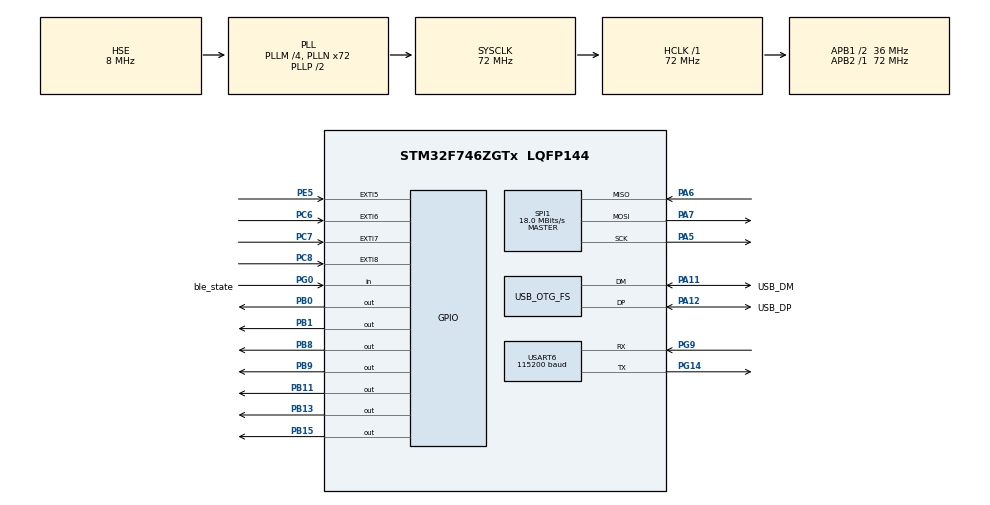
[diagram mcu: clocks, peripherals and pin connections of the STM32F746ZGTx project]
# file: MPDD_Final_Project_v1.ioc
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Dma.Request0=SPI1_TX
Dma.SPI1_TX.0.Direction=DMA_MEMORY_TO_PERIPH
Dma.SPI1_TX.0.FIFOMode=DMA_FIFOMODE_ENABLE
Dma.SPI1_TX.0.FIFOThreshold=DMA_FIFO_THRESHOLD_HALFFULL
Dma.SPI1_TX.0.Instance=DMA2_Stream3
Dma.SPI1_TX.0.MemBurst=DMA_MBURST_SINGLE
Dma.SPI1_TX.0.MemDataAlignment=DMA_MDATAALIGN_HALFWORD
Dma.SPI1_TX.0.MemInc=DMA_MINC_ENABLE
Dma.SPI1_TX.0.Mode=DMA_NORMAL
Dma.SPI1_TX.0.PeriphBurst=DMA_PBURST_SINGLE
Dma.SPI1_TX.0.PeriphDataAlignment=DMA_PDATAALIGN_HALFWORD
Dma.SPI1_TX.0.PeriphInc=DMA_PINC_DISABLE
Dma.SPI1_TX.0.Priority=DMA_PRIORITY_LOW
Mcu.Family=STM32F7
Mcu.Name=STM32F746ZGTx
Mcu.Package=LQFP144
NVIC.DMA2_Stream3_IRQn=true\:0\:0\:false\:false\:true\:false\:true\:true
NVIC.EXTI9_5_IRQn=true\:0\:0\:false\:false\:true\:true\:true\:true
NVIC.OTG_FS_IRQn=true\:0\:0\:false\:false\:true\:false\:true\:true
NVIC.PriorityGroup=NVIC_PRIORITYGROUP_4
NVIC.SPI1_IRQn=true\:0\:0\:false\:false\:true\:true\:true\:true
NVIC.TIM8_TRG_COM_TIM14_IRQn=true\:0\:0\:false\:false\:true\:true\:true\:true
PA10.GPIO_Label=USB_ID
PA10.Signal=USB_OTG_FS_ID
PA11.GPIO_Label=USB_DM
PA11.Mode=Device_Only
PA11.Signal=USB_OTG_FS_DM
PA12.GPIO_Label=USB_DP
PA12.Mode=Device_Only
PA12.Signal=USB_OTG_FS_DP
PA13.GPIO_Label=TMS
PA13.Mode=Serial_Wire
PA13.Signal=SYS_JTMS-SWDIO
PA14.GPIO_Label=TCK
PA14.Mode=Serial_Wire
PA14.Signal=SYS_JTCK-SWCLK
PA5.Mode=Full_Duplex_Master
PA5.Signal=SPI1_SCK
PA6.Mode=Full_Duplex_Master
PA6.Signal=SPI1_MISO
PA7.Mode=Full_Duplex_Master
PA7.Signal=SPI1_MOSI
PA8.GPIO_Label=USB_SOF [TP1]
PA8.Signal=USB_OTG_FS_SOF
PA9.GPIO_Label=USB_VBUS
PA9.Signal=USB_OTG_FS_VBUS
PB0.Signal=GPIO_Output
PB1.GPIO_PuPd=GPIO_PULLDOWN
PB1.Signal=GPIO_Output
PB11.GPIO_PuPd=GPIO_PULLDOWN
PB11.Signal=GPIO_Output
PB13.GPIO_PuPd=GPIO_PULLDOWN
PB13.Signal=GPIO_Output
PB15.GPIO_PuPd=GPIO_PULLDOWN
PB15.Signal=GPIO_Output
PB3.GPIO_Label=SW0
PB3.Signal=SYS_JTDO-SWO
PB8.PinState=GPIO_PIN_RESET
PB8.Signal=GPIO_Output
PB9.Signal=GPIO_Output
PC14/OSC32_IN.Mode=LSE-External-Oscillator
PC14/OSC32_IN.Signal=RCC_OSC32_IN
PC15/OSC32_OUT.Mode=LSE-External-Oscillator
PC15/OSC32_OUT.Signal=RCC_OSC32_OUT
PC6.GPIO_ModeDefaultEXTI=GPIO_MODE_IT_FALLING
PC6.GPIO_PuPd=GPIO_PULLUP
PC6.Signal=GPXTI6
PC7.GPIO_ModeDefaultEXTI=GPIO_MODE_IT_FALLING
PC7.GPIO_PuPd=GPIO_PULLUP
PC7.Signal=GPXTI7
PC8.GPIO_ModeDefaultEXTI=GPIO_MODE_IT_FALLING
PC8.GPIO_PuPd=GPIO_PULLUP
PC8.Signal=GPXTI8
PE5.GPIO_ModeDefaultEXTI=GPIO_MODE_IT_FALLING
PE5.GPIO_PuPd=GPIO_PULLUP
PE5.Signal=GPXTI5
PG0.GPIO_Label=ble_state
PG0.Signal=GPIO_Input
PG14.Mode=Asynchronous
PG14.Signal=USART6_TX
PG9.Mode=Asynchronous
PG9.Signal=USART6_RX
PH0/OSC_IN.GPIO_Label=MCO [STM32F103CBT6_PA8]
PH0/OSC_IN.Mode=HSE-External-Clock-Source
PH0/OSC_IN.Signal=RCC_OSC_IN
PH1/OSC_OUT.Mode=HSE-External-Clock-Source
PH1/OSC_OUT.Signal=RCC_OSC_OUT
ProjectManager.HeapSize=0x200
ProjectManager.StackSize=0x400
ProjectManager.TargetToolchain=STM32CubeIDE
RCC.48MHZClocksFreq_Value=24000000
RCC.AHBFreq_Value=72000000
RCC.APB1CLKDivider=RCC_HCLK_DIV2
RCC.APB1Freq_Value=36000000
RCC.APB1TimFreq_Value=72000000
RCC.APB2Freq_Value=72000000
RCC.APB2TimFreq_Value=72000000
RCC.CortexFreq_Value=72000000
RCC.HCLKFreq_Value=72000000
RCC.HSE_VALUE=8000000
RCC.HSI_VALUE=16000000
RCC.PLLM=4
RCC.PLLMUL=RCC_PLL_MUL9
RCC.PLLN=72
RCC.PLLQ=3
RCC.PLLSourceVirtual=RCC_PLLSOURCE_HSE
RCC.PRESCALERUSB=RCC_USBCLKSOURCE_PLL_DIV1_5
RCC.SYSCLKFreq_VALUE=72000000
RCC.SYSCLKSource=RCC_SYSCLKSOURCE_PLLCLK
RCC.SYSCLKSourceVirtual=RCC_SYSCLKSOURCE_PLLCLK
RCC.USBFreq_Value=48000000
RCC.VCOOutputFreq_Value=144000000
SPI1.BaudRatePrescaler=SPI_BAUDRATEPRESCALER_4
SPI1.CalculateBaudRate=18.0 MBits/s
SPI1.DataSize=SPI_DATASIZE_8BIT
SPI1.Direction=SPI_DIRECTION_2LINES
SPI1.Mode=SPI_MODE_MASTER
SPI1.NSSPMode=SPI_NSS_PULSE_DISABLE
SPI1.VirtualType=VM_MASTER
TIM14.Period=1000
TIM14.Prescaler=8000-1
USART6.BaudRate=115200
USART6.VirtualMode-Asynchronous=VM_ASYNC
USB_DEVICE.CLASS_NAME_FS=CDC
USB_DEVICE.VirtualMode-CDC_FS=Cdc
USB_DEVICE.VirtualModeFS=Cdc_FS
USB_OTG_FS.VirtualMode=Device_Only
VP_TIM14_VS_ClockSourceINT.Mode=Enable_Timer
VP_USB_DEVICE_VS_USB_DEVICE_CDC_FS.Mode=CDC_FS
board=NUCLEO-F746ZG

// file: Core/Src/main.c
/* USER CODE BEGIN Header */
/**
  ******************************************************************************
  * @file           : main.c
  * @brief          : Main program body
  ******************************************************************************
  * @attention
  *
  * Copyright (c) 2022 STMicroelectronics.
  * All rights reserved.
  *
  * This software is licensed under terms that can be found in the LICENSE file
  * in the root directory of this software component.
  * If no LICENSE file comes with this software, it is provided AS-IS.
  *
  ******************************************************************************
  */
/* USER CODE END Header */
#include "main.h"
#include "usb_device.h"

/* USER CODE BEGIN Includes */
#include "ili9163.h"
#include "string.h"
#include <stdint.h>
#include "usbd_cdc_if.h"
/* USER CODE END Includes */

/* USER CODE BEGIN PD */
#define FlashAddress 0x08008000
#define PIN_LENGTH 4

/* USER CODE END PD */

/* USER CODE BEGIN PM */
__attribute__((__section__(".user_data"))) const char userConfig[64];
/* USER CODE END PM */

SPI_HandleTypeDef hspi1;
DMA_HandleTypeDef hdma_spi1_tx;

TIM_HandleTypeDef htim14;

UART_HandleTypeDef huart6;

/* USER CODE BEGIN PV */
volatile uint32_t MSec = 0;

uint8_t SPI_DMA_FL = 0;
uint32_t SPI_DMA_CNT=1;

char keyChar = 0;
uint16_t key = 0;
uint8_t counter = 0;

/* USER CODE END PV */

void SystemClock_Config(void);
static void MX_GPIO_Init(void);
static void MX_DMA_Init(void);
static void MX_SPI1_Init(void);
static void MX_TIM14_Init(void);
static void MX_USART6_UART_Init(void);
/* USER CODE BEGIN PFP */
uint16_t keyPadScan(void);
/* USER CODE END PFP */

/* USER CODE BEGIN 0 */
GPIO_PinState statePinStatus;
/* USER CODE END 0 */

int main(void)
{

  /* MCU Configuration--------------------------------------------------------*/

  /* Reset of all peripherals, Initializes the Flash interface and the Systick. */
  HAL_Init();

  /* Configure the system clock */
  SystemClock_Config();

  /* Initialize all configured peripherals */
  MX_GPIO_Init();
  MX_DMA_Init();
  MX_SPI1_Init();
  MX_TIM14_Init();
  MX_USART6_UART_Init();
  MX_USB_DEVICE_Init();
  /* USER CODE BEGIN 2 */
  ILI9163_init(0);

//	  uint32_t num = 0;
//	Write_Flash(((uint32_t *) num));
	uint32_t pinInt = 0;
	 uint8_t buffer[1024];
	    uint32_t count = 0;
	    extern USBD_HandleTypeDef hUsbDeviceFS;

	   // extern USBD_HandleTypeDef GetRxBuffer;
  /* USER CODE END 2 */

  /* Infinite loop */
  /* USER CODE BEGIN WHILE */
  while (1)
  {
	 // HAL_GPIO_WritePin(GPIOB, GPIO_PIN_0, GPIO_PIN_SET); // Turn on LED
    /* USER CODE END WHILE */

    /* USER CODE BEGIN 3 */

	  statePinStatus = HAL_GPIO_ReadPin(GPIOG, GPIO_PIN_0); // Replace GPIOx with the actual GPIO port and STATE_PIN with the actual pin number

	  	  if(statePinStatus == GPIO_PIN_SET) {
	  	      // The module is connected to another Bluetooth device
	  		  HAL_GPIO_WritePin(GPIOB, GPIO_PIN_0, GPIO_PIN_SET); // Turn on LED
//	  		char *msg = "Hello BLE Module!";
//	  		 HAL_UART_Transmit(&huart6, (uint8_t*)msg, strlen(msg), HAL_MAX_DELAY);

	  	  } else {
	  	      // The module is not connected
	  		  HAL_GPIO_WritePin(GPIOB, GPIO_PIN_0, GPIO_PIN_RESET); // Turn on LED
	  	  }

  /* USER CODE END 3 */
}
}
void SystemClock_Config(void)
{
  RCC_OscInitTypeDef RCC_OscInitStruct = {0};
  RCC_ClkInitTypeDef RCC_ClkInitStruct = {0};

  /** Configure LSE Drive Capability
  */
  HAL_PWR_EnableBkUpAccess();

  /** Configure the main internal regulator output voltage
  */
  __HAL_RCC_PWR_CLK_ENABLE();
  __HAL_PWR_VOLTAGESCALING_CONFIG(PWR_REGULATOR_VOLTAGE_SCALE3);

  /** Initializes the RCC Oscillators according to the specified parameters
  * in the RCC_OscInitTypeDef structure.
  */
  RCC_OscInitStruct.OscillatorType = RCC_OSCILLATORTYPE_HSE;
  RCC_OscInitStruct.HSEState = RCC_HSE_BYPASS;
  RCC_OscInitStruct.PLL.PLLState = RCC_PLL_ON;
  RCC_OscInitStruct.PLL.PLLSource = RCC_PLLSOURCE_HSE;
  RCC_OscInitStruct.PLL.PLLM = 4;
  RCC_OscInitStruct.PLL.PLLN = 72;
  RCC_OscInitStruct.PLL.PLLP = RCC_PLLP_DIV2;
  RCC_OscInitStruct.PLL.PLLQ = 3;
  if (HAL_RCC_OscConfig(&RCC_OscInitStruct) != HAL_OK)
  {
    Error_Handler();
  }

  /** Initializes the CPU, AHB and APB buses clocks
  */
  RCC_ClkInitStruct.ClockType = RCC_CLOCKTYPE_HCLK|RCC_CLOCKTYPE_SYSCLK
                              |RCC_CLOCKTYPE_PCLK1|RCC_CLOCKTYPE_PCLK2;
  RCC_ClkInitStruct.SYSCLKSource = RCC_SYSCLKSOURCE_PLLCLK;
  RCC_ClkInitStruct.AHBCLKDivider = RCC_SYSCLK_DIV1;
  RCC_ClkInitStruct.APB1CLKDivider = RCC_HCLK_DIV2;
  RCC_ClkInitStruct.APB2CLKDivider = RCC_HCLK_DIV1;

  if (HAL_RCC_ClockConfig(&RCC_ClkInitStruct, FLASH_LATENCY_2) != HAL_OK)
  {
    Error_Handler();
  }
}

static void MX_SPI1_Init(void)
{

  /* SPI1 parameter configuration*/
  hspi1.Instance = SPI1;
  hspi1.Init.Mode = SPI_MODE_MASTER;
  hspi1.Init.Direction = SPI_DIRECTION_2LINES;
  hspi1.Init.DataSize = SPI_DATASIZE_8BIT;
  hspi1.Init.CLKPolarity = SPI_POLARITY_LOW;
  hspi1.Init.CLKPhase = SPI_PHASE_1EDGE;
  hspi1.Init.NSS = SPI_NSS_SOFT;
  hspi1.Init.BaudRatePrescaler = SPI_BAUDRATEPRESCALER_4;
  hspi1.Init.FirstBit = SPI_FIRSTBIT_MSB;
  hspi1.Init.TIMode = SPI_TIMODE_DISABLE;
  hspi1.Init.CRCCalculation = SPI_CRCCALCULATION_DISABLE;
  hspi1.Init.CRCPolynomial = 7;
  hspi1.Init.CRCLength = SPI_CRC_LENGTH_DATASIZE;
  hspi1.Init.NSSPMode = SPI_NSS_PULSE_DISABLE;
  if (HAL_SPI_Init(&hspi1) != HAL_OK)
  {
    Error_Handler();
  }

}

static void MX_TIM14_Init(void)
{

  htim14.Instance = TIM14;
  htim14.Init.Prescaler = 8000-1;
  htim14.Init.CounterMode = TIM_COUNTERMODE_UP;
  htim14.Init.Period = 1000;
  htim14.Init.ClockDivision = TIM_CLOCKDIVISION_DIV1;
  htim14.Init.AutoReloadPreload = TIM_AUTORELOAD_PRELOAD_DISABLE;
  if (HAL_TIM_Base_Init(&htim14) != HAL_OK)
  {
    Error_Handler();
  }

}

static void MX_USART6_UART_Init(void)
{

  huart6.Instance = USART6;
  huart6.Init.BaudRate = 115200;
  huart6.Init.WordLength = UART_WORDLENGTH_8B;
  huart6.Init.StopBits = UART_STOPBITS_1;
  huart6.Init.Parity = UART_PARITY_NONE;
  huart6.Init.Mode = UART_MODE_TX_RX;
  huart6.Init.HwFlowCtl = UART_HWCONTROL_NONE;
  huart6.Init.OverSampling = UART_OVERSAMPLING_16;
  huart6.Init.OneBitSampling = UART_ONE_BIT_SAMPLE_DISABLE;
  huart6.AdvancedInit.AdvFeatureInit = UART_ADVFEATURE_NO_INIT;
  if (HAL_UART_Init(&huart6) != HAL_OK)
  {
    Error_Handler();
  }

}

static void MX_DMA_Init(void)
{

  /* DMA controller clock enable */
  __HAL_RCC_DMA2_CLK_ENABLE();

  /* DMA interrupt init */
  /* DMA2_Stream3_IRQn interrupt configuration */
  HAL_NVIC_SetPriority(DMA2_Stream3_IRQn, 0, 0);
  HAL_NVIC_EnableIRQ(DMA2_Stream3_IRQn);

}

static void MX_GPIO_Init(void)
{
  GPIO_InitTypeDef GPIO_InitStruct = {0};

  /* GPIO Ports Clock Enable */
  __HAL_RCC_GPIOE_CLK_ENABLE();
  __HAL_RCC_GPIOC_CLK_ENABLE();
  __HAL_RCC_GPIOH_CLK_ENABLE();
  __HAL_RCC_GPIOA_CLK_ENABLE();
  __HAL_RCC_GPIOB_CLK_ENABLE();
  __HAL_RCC_GPIOG_CLK_ENABLE();

  /*Configure GPIO pin Output Level */
  HAL_GPIO_WritePin(GPIOB, GPIO_PIN_0|GPIO_PIN_1|GPIO_PIN_11|GPIO_PIN_13
                          |GPIO_PIN_15|GPIO_PIN_8|GPIO_PIN_9, GPIO_PIN_RESET);

  /*Configure GPIO pin : PE5 */
  GPIO_InitStruct.Pin = GPIO_PIN_5;
  GPIO_InitStruct.Mode = GPIO_MODE_IT_FALLING;
  GPIO_InitStruct.Pull = GPIO_PULLUP;
  HAL_GPIO_Init(GPIOE, &GPIO_InitStruct);

  /*Configure GPIO pins : PB0 PB8 PB9 */
  GPIO_InitStruct.Pin = GPIO_PIN_0|GPIO_PIN_8|GPIO_PIN_9;
  GPIO_InitStruct.Mode = GPIO_MODE_OUTPUT_PP;
  GPIO_InitStruct.Pull = GPIO_NOPULL;
  GPIO_InitStruct.Speed = GPIO_SPEED_FREQ_LOW;
  HAL_GPIO_Init(GPIOB, &GPIO_InitStruct);

  /*Configure GPIO pins : PB1 PB11 PB13 PB15 */
  GPIO_InitStruct.Pin = GPIO_PIN_1|GPIO_PIN_11|GPIO_PIN_13|GPIO_PIN_15;
  GPIO_InitStruct.Mode = GPIO_MODE_OUTPUT_PP;
  GPIO_InitStruct.Pull = GPIO_PULLDOWN;
  GPIO_InitStruct.Speed = GPIO_SPEED_FREQ_LOW;
  HAL_GPIO_Init(GPIOB, &GPIO_InitStruct);

  /*Configure GPIO pin : ble_state_Pin */
  GPIO_InitStruct.Pin = ble_state_Pin;
  GPIO_InitStruct.Mode = GPIO_MODE_INPUT;
  GPIO_InitStruct.Pull = GPIO_NOPULL;
  HAL_GPIO_Init(ble_state_GPIO_Port, &GPIO_InitStruct);

  /*Configure GPIO pins : PC6 PC7 PC8 */
  GPIO_InitStruct.Pin = GPIO_PIN_6|GPIO_PIN_7|GPIO_PIN_8;
  GPIO_InitStruct.Mode = GPIO_MODE_IT_FALLING;
  GPIO_InitStruct.Pull = GPIO_PULLUP;
  HAL_GPIO_Init(GPIOC, &GPIO_InitStruct);

  /* EXTI interrupt init*/
  HAL_NVIC_SetPriority(EXTI9_5_IRQn, 0, 0);
  HAL_NVIC_EnableIRQ(EXTI9_5_IRQn);

}

/* USER CODE BEGIN 4 */
void HAL_GPIO_EXTI_Callback(uint16_t GPIO_Pin)
{
  if(GPIO_Pin == GPIO_PIN_13){
	  HAL_TIM_Base_Start_IT(&htim14);
  }
}

void HAL_SPI_TxCpltCallback(SPI_HandleTypeDef *hspi) // Your TxCpltCallback
{
	SPI_DMA_CNT--;
	if(SPI_DMA_CNT==0)
	{
		HAL_SPI_DMAStop(&hspi1);
		SPI_DMA_CNT=1;
		SPI_DMA_FL=1;
	}
}

/* USER CODE END 4 */

void Error_Handler(void)
{
  __disable_irq();
  while (1)
  {
  }
}
